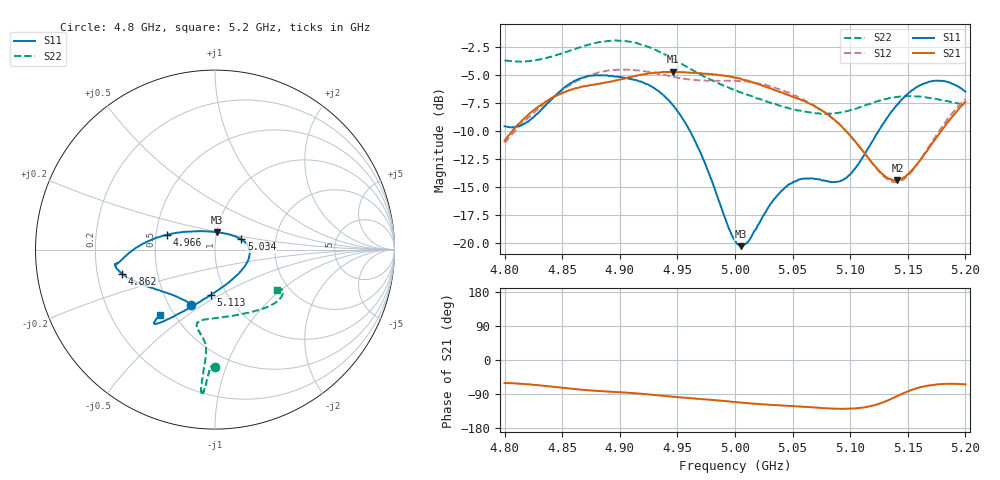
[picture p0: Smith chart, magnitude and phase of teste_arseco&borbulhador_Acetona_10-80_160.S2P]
! Network Analyzer HP8722D
! Hewlett-Packard
! Data name: Linha & Wilkinson
! Saver's name: Rodrigo Anjos
! Comments: Teste da utilização de aquisição
! continua pelo VNA HP8722D
! Time and date: 17/4/2025 15:41
!  Frequency  S11  S21  S12  S22
# HZ  S  MA R 50
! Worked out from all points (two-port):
!   401 points, 4.8 GHz to 5.2 GHz, reference 50 ohm
!   highest |S21| = -4.67 dB at 4.946 GHz (marker M1); lowest = -14.4 dB at 5.141 GHz (marker M2)
!   |S21| within 3 dB of the highest: 4.831 GHz to 5.068 GHz (236.8 MHz wide, 4.78 % of centre); 5.197116 GHz to end of sweep
!   lowest |S11| = -20.3 dB at 5.005 GHz (marker M3), VSWR 1.21, Z = 49.9 + j9.74 ohm
!   |S11| at or under -10 dB: 4.961 GHz to 5.124 GHz (163.4 MHz wide, 3.24 % of centre)
!   |S22| runs from -8.5 to -1.9 dB; largest |S21 - S12| = 0.88
!   S11 on the Smith chart (normalised r, x): 4.8 GHz: 0.65, -0.45; 4.862 GHz: 0.31, -0.12; 4.966 GHz: 0.57, +0.10; 5.034 GHz: 1.33, +0.16; 5.113 GHz: 0.85, -0.45; 5.2 GHz: 0.42, -0.39
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4.8e9  0.3332 -113.2  0.2871 -60.8  0.2811 -174.8  0.6556 -89.9
4.819e9  0.3465 -133.0  0.3688 -63.8  0.357 -173.4  0.6507 -91.5
4.862e9  0.5358 -165.5  0.4934 -76.8  0.5283 -176.6  0.741 -93.7
4.867e9  0.5486 -167.4  0.5009 -78.4  0.5431 -177.6  0.7553 -93.9
4.899e9  0.5528 -172.0  0.536 -84.9  0.5961 175.7  0.8035 -95.3
4.934e9  0.4769 -178.0  0.579 -93.5  0.5717 171.9  0.7169 -95.6
4.946e9  0.4144 176.4  0.5842 -96.7  0.5555 172.2  0.6668 -95.3
4.966e9  0.2816 163.1  0.5769 -101.9  0.5362 173.9  0.5816 -94.9
5e9  0.1029 102.5  0.549 -110.8  0.5325 176.4  0.4823 -99.1
5.005e9  0.09701 85.0  0.5437 -112.2  0.5292 176.3  0.4721 -100.3
5.012e9  0.1026 62.5  0.5295 -114.1  0.525 176.0  0.4585 -101.6
5.034e9  0.1573 21.4  0.4838 -118.8  0.4967 175.0  0.4185 -103.5
5.049e9  0.185 6.1  0.4531 -121.3  0.4635 174.3  0.3981 -100.1
5.067e9  0.1948 -13.0  0.4157 -124.8  0.4179 173.8  0.383 -90.7
5.093e9  0.1909 -57.4  0.3309 -128.8  0.3299 174.1  0.3854 -70.8
5.113e9  0.2523 -94.8  0.2506 -124.7  0.2503 179.9  0.4136 -55.1
5.134e9  0.3755 -116.1  0.1934 -104.8  0.1908 -157.7  0.4453 -42.9
5.141e9  0.4168 -120.0  0.1907 -95.0  0.1879 -146.7  0.4508 -39.9
5.153e9  0.4797 -124.9  0.2106 -79.3  0.2078 -128.5  0.4538 -35.6
5.17e9  0.5282 -128.6  0.2737 -66.3  0.2786 -112.4  0.4458 -31.9
5.184e9  0.5264 -129.9  0.3441 -62.8  0.356 -107.1  0.4318 -30.8
5.2e9  0.4752 -130.3  0.4285 -64.2  0.4406 -106.3  0.4149 -33.3
